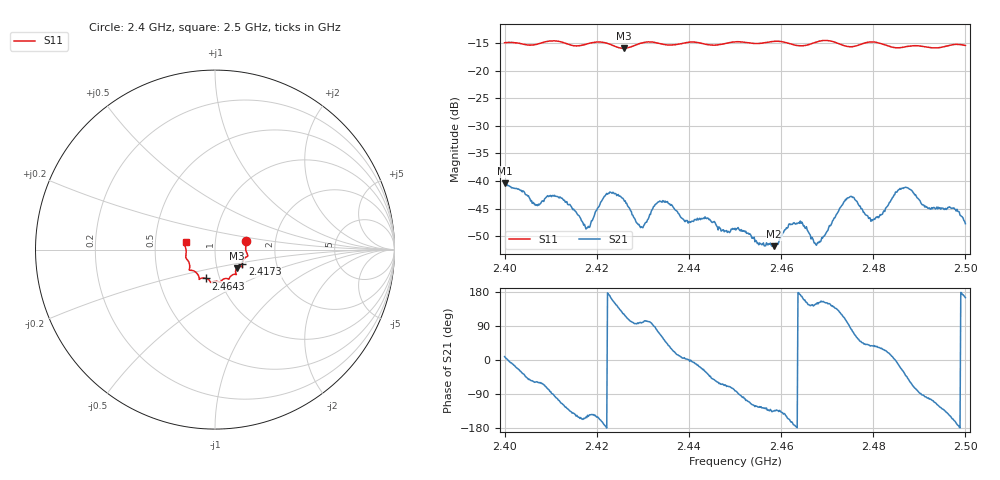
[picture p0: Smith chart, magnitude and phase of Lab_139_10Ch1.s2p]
# Hz S RI R 50
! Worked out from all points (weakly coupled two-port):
!   601 points, 2.4 GHz to 2.5 GHz, reference 50 ohm
!   highest |S21| = -40.45 dB at 2.4 GHz (marker M1); lowest = -51.8 dB at 2.4585 GHz (marker M2)
!   lowest |S11| = -15.9 dB at 2.4258 GHz (marker M3), VSWR 1.38, Z = 62.3 - j13.2 ohm
!   |S11| at or under -10 dB: start of sweep to end of sweep
!   S12 and S22 are empty: the file has one direction only
!   S11 on the Smith chart (normalised r, x): 2.4 GHz: 1.41, +0.14; 2.4173 GHz: 1.34, -0.23; 2.4643 GHz: 0.86, -0.28; 2.5 GHz: 0.72, +0.06
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2.4e9  0.1727 0.0489  0.00939 0.00146  0 0  0 0
2.407e9  0.1736 -0.0102  0.00329 -0.00512  0 0  0 0
2.412e9  0.1802 -0.0379  -0.0024 -0.00674  0 0  0 0
2.416667e9  0.1527 -0.0743  -0.00396 -0.00185  0 0  0 0
2.417333e9  0.1518 -0.0818  -0.00365 -0.00173  0 0  0 0
2.4225e9  0.1487 -0.0946  -0.00767 0.000793  0 0  0 0
2.425833e9  0.1217 -0.1034  -0.0036 0.00577  0 0  0 0
2.429667e9  0.1167 -0.1349  -0.000513 0.00381  0 0  0 0
2.433333e9  0.1131 -0.1374  0.00178 0.0062  0 0  0 0
2.4395e9  0.0795 -0.1618  0.00436 0.000192  0 0  0 0
2.45e9  0.029 -0.1808  0.000548 -0.00368  0 0  0 0
2.4585e9  -0.0208 -0.1836  -0.0018 -0.00182  0 0  0 0
2.464333e9  -0.05 -0.1606  -0.00406 0.000791  0 0  0 0
2.466667e9  -0.0759 -0.1594  -0.00255 0.00174  0 0  0 0
2.468167e9  -0.0858 -0.164  -0.00241 0.00131  0 0  0 0
2.474833e9  -0.1046 -0.1281  7.43e-05 0.00713  0 0  0 0
2.479833e9  -0.1431 -0.1135  0.00348 0.00264  0 0  0 0
2.483333e9  -0.141 -0.0899  0.0058 0.00196  0 0  0 0
2.487167e9  -0.1562 -0.0546  0.00644 -0.0059  0 0  0 0
2.4915e9  -0.1617 -0.0302  -0.000772 -0.00573  0 0  0 0
2.497e9  -0.1694 0.0267  -0.00502 -0.00257  0 0  0 0
2.5e9  -0.164 0.0428  -0.00395 0.00109  0 0  0 0
